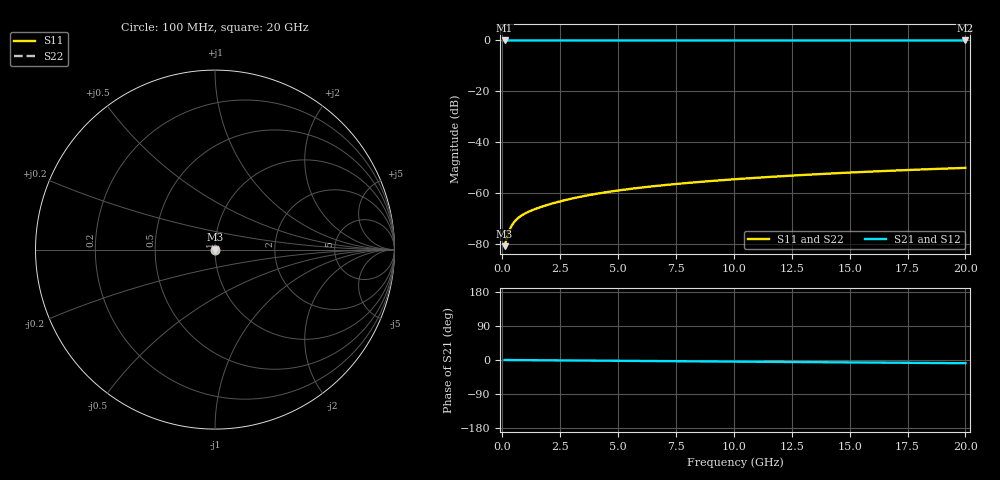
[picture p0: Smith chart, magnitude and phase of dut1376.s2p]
! Touchstone file exported from HFSS 2026.1.0
!  File:  C:/ffzhzh/LocalFiles/Ansys_Project_Files/temp_train_TSV_1376_1783196358_51560.aedt
!  Generated:  04:20:43 AM Jul  5, 2026
!  Design:  TSV
!  Project:  temp_train_TSV_1376_1783196358_51560
! Variables:
!  h_bsmrdl = 2um
!  h_ox = 20um
!  h_rdl = 5um
!  h_sub = 81.71um
!  h_tmrdl = 5um
!  h_tsv = 81.71um
!  h_via = 3um
!  l_bsmrdl = 300um
!  l_sub = 429.22um
!  l_tmrdl = 200um
!  m_sub = 200um
!  pitch = 59.23um
!  r_tsv = 14.61um
!  s_tmrdl = 10um
!  w_bsmrdl = 18um
!  w_sub = 500um
!  w_tmrdl = 12um
!  x_tsv_center1 = 206um
!  x_tsv_center2 = 524um
!  x_tsv_center3 = 736um
!  x_tsv_center4 = 1054um
!  x_tsv_center5 = 1266um
!  x_tsv_center6 = 1584um
# GHz S MA R 50.000000
! Terminal data exported
! Port[1] = TSV1_1_T1
! Port[2] = TSV1_1_T2
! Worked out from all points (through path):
!   200 points, 100 MHz to 20 GHz, reference 50 ohm
!   highest |S21| = 0.00 dB at 100 MHz (marker M1); lowest = 0.0 dB at 20 GHz (marker M2)
!   group delay of S21, straight-line fit = 1.17 ps
!   lowest |S11| = -80.7 dB at 100 MHz (marker M3), VSWR 1.00, Z = 50 + j0.00561 ohm
!   |S11| at or under -10 dB: start of sweep to end of sweep
!   |S22| runs from -80.7 to -50.0 dB; largest |S21 - S12| = 3.4e-15
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0.1  9.263e-05 37.2  0.9999 -0.0  0.9999 -0.0  9.263e-05 37.2
! Gamma 0 0 0 0
! Port Impedance 50 0 50 0
0.2  0.0001392 50.9  0.9999 -0.1  0.9999 -0.1  0.0001392 50.9
0.3  0.0001875 54.9  0.9999 -0.1  0.9999 -0.1  0.0001875 54.9
0.4  0.0002316 55.7  0.9999 -0.2  0.9999 -0.2  0.0002316 55.7
0.5  0.0002706 55.5  0.9998 -0.2  0.9998 -0.2  0.0002706 55.5
0.6  0.0003047 55.0  0.9998 -0.3  0.9998 -0.3  0.0003047 55.0
0.7  0.0003348 54.6  0.9998 -0.3  0.9998 -0.3  0.0003348 54.6
0.9  0.0003863 54.2  0.9998 -0.4  0.9998 -0.4  0.0003862 54.2
1.1  0.0004308 54.4  0.9997 -0.5  0.9997 -0.5  0.0004308 54.4
1.3  0.0004718 54.9  0.9997 -0.6  0.9997 -0.6  0.0004718 54.9
1.9  0.0005877 57.1  0.9997 -0.8  0.9997 -0.8  0.0005877 57.1
2.7  0.0007386 59.6  0.9996 -1.2  0.9996 -1.2  0.0007386 59.6
3.5  0.0008854 61.1  0.9996 -1.5  0.9996 -1.5  0.0008854 61.1
4.2  0.001009 61.9  0.9996 -1.8  0.9996 -1.8  0.001009 61.9
5  0.001144 62.5  0.9995 -2.1  0.9995 -2.1  0.001144 62.5
5.9  0.001289 63.0  0.9995 -2.5  0.9995 -2.5  0.001289 63.0
6.8  0.001429 63.4  0.9994 -2.9  0.9994 -2.9  0.001429 63.4
8.3  0.001653 63.8  0.9994 -3.5  0.9994 -3.5  0.001653 63.8
10.1  0.00191 64.2  0.9993 -4.3  0.9993 -4.3  0.00191 64.2
13.4  0.002361 64.4  0.9992 -5.7  0.9992 -5.7  0.002361 64.4
16.7  0.002785 64.1  0.9991 -7.0  0.9991 -7.0  0.002785 64.1
20  0.003177 63.5  0.999 -8.4  0.999 -8.4  0.003178 63.4
